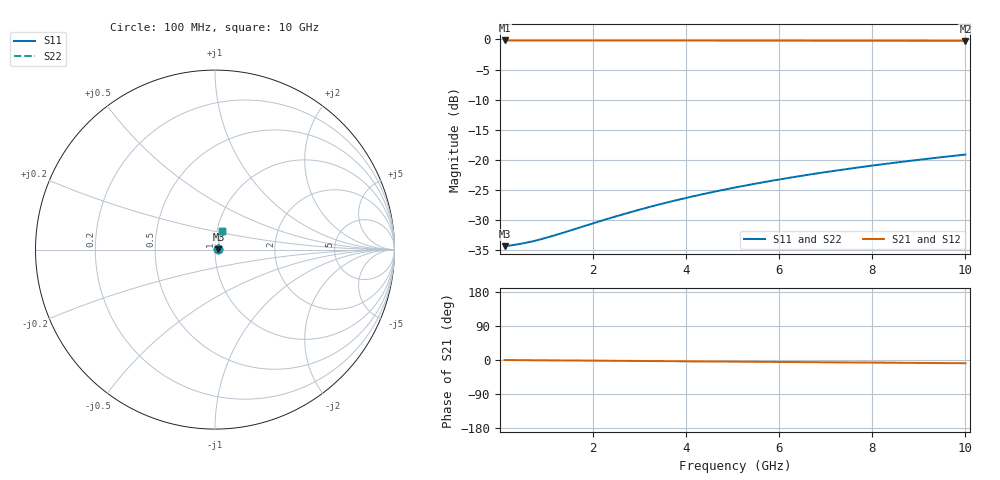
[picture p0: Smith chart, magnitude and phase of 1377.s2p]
# Hz S RI R 50.00
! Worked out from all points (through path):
!   100 points, 100 MHz to 10 GHz, reference 50 ohm
!   highest |S21| = -0.17 dB at 100 MHz (marker M1); lowest = -0.2 dB at 10 GHz (marker M2)
!   group delay of S21, straight-line fit = 2.38 ps
!   lowest |S11| = -34.4 dB at 100 MHz (marker M3), VSWR 1.04, Z = 51.9 + j0.111 ohm
!   |S11| at or under -10 dB: start of sweep to end of sweep
!   |S22| runs from -34.4 to -19.2 dB; largest |S21 - S12| = 0
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1e8  0.019 0.00106  0.981 -0.00147  0.981 -0.00147  0.019 0.00106
3e8  0.0193 0.00319  0.9807 -0.00442  0.9807 -0.00442  0.0193 0.00319
5e8  0.0194 0.00531  0.9806 -0.00736  0.9806 -0.00736  0.0194 0.00531
8e8  0.0196 0.0085  0.9804 -0.0118  0.9804 -0.0118  0.0196 0.0085
1e9  0.0198 0.0106  0.9802 -0.0147  0.9802 -0.0147  0.0198 0.0106
1.2e9  0.0199 0.0127  0.9801 -0.0177  0.9801 -0.0177  0.0199 0.0127
1.8e9  0.0203 0.0191  0.9796 -0.0265  0.9796 -0.0265  0.0203 0.0191
2.2e9  0.0207 0.0233  0.9793 -0.0323  0.9793 -0.0323  0.0207 0.0233
2.6e9  0.0211 0.0276  0.9789 -0.0382  0.9789 -0.0382  0.0211 0.0276
3e9  0.0215 0.0318  0.9784 -0.0441  0.9784 -0.0441  0.0215 0.0318
3.4e9  0.022 0.036  0.9779 -0.0499  0.9779 -0.0499  0.022 0.036
3.8e9  0.0225 0.0402  0.9774 -0.0557  0.9774 -0.0557  0.0225 0.0402
4.2e9  0.023 0.0444  0.9768 -0.0616  0.9768 -0.0616  0.023 0.0444
4.6e9  0.0236 0.0486  0.9762 -0.0674  0.9762 -0.0674  0.0236 0.0486
5.1e9  0.0245 0.0538  0.9753 -0.0747  0.9753 -0.0747  0.0245 0.0538
5.5e9  0.0252 0.058  0.9745 -0.0805  0.9745 -0.0805  0.0252 0.058
5.9e9  0.0259 0.0622  0.9737 -0.0863  0.9737 -0.0863  0.0259 0.0622
6.7e9  0.0276 0.0704  0.972 -0.0978  0.972 -0.0978  0.0276 0.0704
7.5e9  0.0295 0.0787  0.97 -0.1093  0.97 -0.1093  0.0295 0.0787
8.4e9  0.0318 0.0879  0.9676 -0.1222  0.9676 -0.1222  0.0318 0.0879
9.2e9  0.0341 0.096  0.9652 -0.1336  0.9652 -0.1336  0.0341 0.096
1e10  0.0365 0.104  0.9626 -0.1449  0.9626 -0.1449  0.0365 0.104
